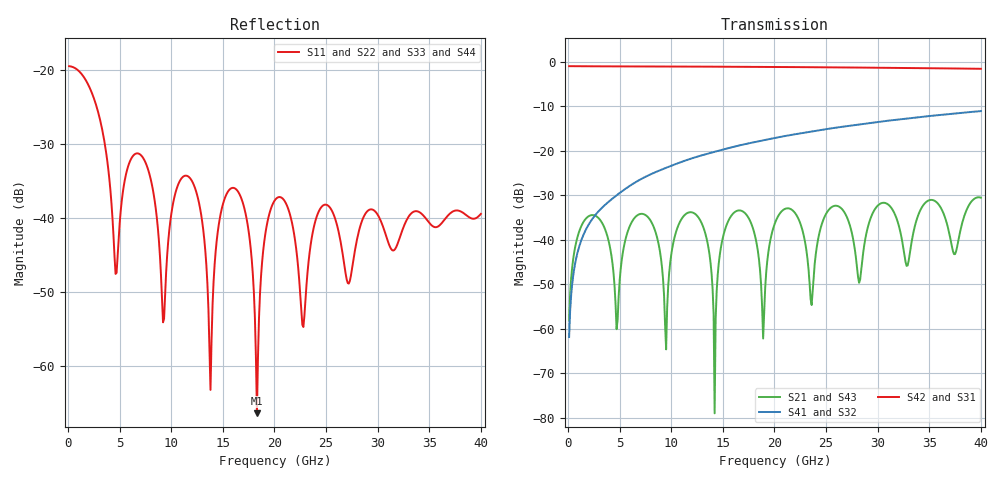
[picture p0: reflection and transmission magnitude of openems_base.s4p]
! T_ts6_xt_ms_s20: Microstrip aggressor and victim on L1, w 0.265 mm, edge gap 2·w = 0.53 mm, 20 mm
! stackup: ThunderScope Rev5.3 6-layer (FR408HR / FR-4, from the board file)
! ports: 1 near A, 2 near B, 3 far A, 4 far B
! openEMS 0.37.0, staircase, base mesh (dfine 0.035 mm), 725536 cells
# Hz S RI R 50
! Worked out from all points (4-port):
!   400 points, 100 MHz to 40 GHz, reference 50 ohm
!   strongest paths, dB at 100 MHz, 10.1 GHz, 20.1 GHz, 30.1 GHz, 40 GHz:
!     S42: -1.0, -1.1, -1.2, -1.3, -1.6
!     S31: -1.0, -1.1, -1.2, -1.3, -1.6
!     S41: -61.9, -23.3, -17.1, -13.5, -11.1
!     S32: -61.9, -23.3, -17.1, -13.5, -11.1
!     S21: -58.1, -41.8, -35.9, -32.1, -30.5
!     S43: -58.1, -41.8, -35.9, -32.1, -30.5
!   lowest |S11| = -66.5 dB at 18.3 GHz (marker M1), VSWR 1.00, Z = 50 - j0.0357 ohm
!   |S11| at or under -10 dB: start of sweep to end of sweep
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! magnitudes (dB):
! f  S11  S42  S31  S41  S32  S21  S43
! 100 MHz  -19.4  -1.0  -1.0  -61.9  -61.9  -58.1  -58.1
! 12.2 GHz  -35.6  -1.1  -1.1  -21.5  -21.5  -34.0  -34.0
! 14.2 GHz  -46.3  -1.1  -1.1  -20.2  -20.2  -79.0  -78.9
! 15.1 GHz  -37.7  -1.1  -1.1  -19.7  -19.7  -38.6  -38.6
! 18.3 GHz  -66.5  -1.1  -1.1  -17.9  -17.9  -41.2  -41.2
! 20.2 GHz  -37.3  -1.2  -1.2  -17.0  -17.0  -35.4  -35.4
! 40 GHz  -39.5  -1.6  -1.6  -11.1  -11.1  -30.5  -30.5
